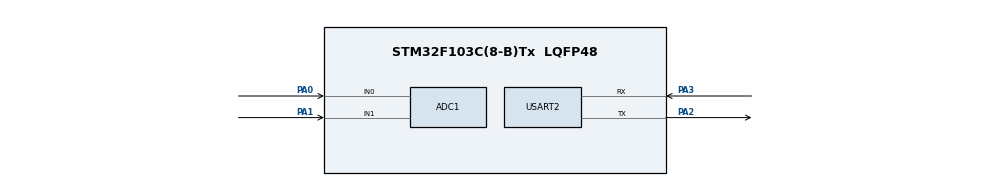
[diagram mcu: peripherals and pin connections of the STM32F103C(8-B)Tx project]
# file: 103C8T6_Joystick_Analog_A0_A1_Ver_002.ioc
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ADC1.Channel-0\#ChannelRegularConversion=ADC_CHANNEL_0
ADC1.NbrOfConversionFlag=1
ADC1.Rank-0\#ChannelRegularConversion=1
ADC1.SamplingTime-0\#ChannelRegularConversion=ADC_SAMPLETIME_55CYCLES_5
ADC1.master=1
Mcu.Family=STM32F1
Mcu.Name=STM32F103C(8-B)Tx
Mcu.Package=LQFP48
NVIC.PriorityGroup=NVIC_PRIORITYGROUP_4
PA0-WKUP.Signal=ADCx_IN0
PA1.Signal=ADCx_IN1
PA13.Mode=Serial_Wire
PA13.Signal=SYS_JTMS-SWDIO
PA14.Mode=Serial_Wire
PA14.Signal=SYS_JTCK-SWCLK
PA2.Mode=Asynchronous
PA2.Signal=USART2_TX
PA3.Mode=Asynchronous
PA3.Signal=USART2_RX
PC14-OSC32_IN.Mode=LSE-External-Oscillator
PC14-OSC32_IN.Signal=RCC_OSC32_IN
PC15-OSC32_OUT.Mode=LSE-External-Oscillator
PC15-OSC32_OUT.Signal=RCC_OSC32_OUT
PD0-OSC_IN.Mode=HSE-External-Oscillator
PD0-OSC_IN.Signal=RCC_OSC_IN
PD1-OSC_OUT.Mode=HSE-External-Oscillator
PD1-OSC_OUT.Signal=RCC_OSC_OUT
ProjectManager.HeapSize=0x200
ProjectManager.StackSize=0x400
ProjectManager.TargetToolchain=STM32CubeIDE
RCC.APB1Freq_Value=8000000
RCC.APB2Freq_Value=8000000
SH.ADCx_IN0.0=ADC1_IN0,IN0
SH.ADCx_IN1.0=ADC1_IN1,IN1
USART2.VirtualMode=VM_ASYNC
board=custom

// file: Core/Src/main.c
/* USER CODE BEGIN Header */
/**
 ******************************************************************************
 * @file           : main.c
 * @brief          : Main program body
 ******************************************************************************
 * @attention
 *
 * Copyright (c) 2025 STMicroelectronics.
 * All rights reserved.
 *
 * This software is licensed under terms that can be found in the LICENSE file
 * in the root directory of this software component.
 * If no LICENSE file comes with this software, it is provided AS-IS.
 *
 ******************************************************************************
 */
/* USER CODE END Header */
#include "main.h"

/* USER CODE BEGIN Includes */
#include <stdio.h>
#include <string.h>
#include <stdlib.h>
/* USER CODE END Includes */

ADC_HandleTypeDef hadc1;

UART_HandleTypeDef huart2;

/* USER CODE BEGIN PV */
char buffer[50];

uint16_t centerY = 2700;
uint16_t centerX = 3150;

uint16_t joyY, joyX;
int16_t dy, dx;
/* USER CODE END PV */

void SystemClock_Config(void);
static void MX_GPIO_Init(void);
static void MX_ADC1_Init(void);
static void MX_USART2_UART_Init(void);

/* USER CODE BEGIN 0 */
uint16_t ReadADC(uint32_t channel) {
	ADC_ChannelConfTypeDef sConfig = { 0 };

	sConfig.Channel = channel;
	sConfig.Rank = ADC_REGULAR_RANK_1;
	sConfig.SamplingTime = ADC_SAMPLETIME_55CYCLES_5;
	HAL_ADC_ConfigChannel(&hadc1, &sConfig);

	HAL_ADC_Start(&hadc1);
	HAL_ADC_PollForConversion(&hadc1, HAL_MAX_DELAY);
	uint16_t value = HAL_ADC_GetValue(&hadc1);
	HAL_ADC_Stop(&hadc1);

	return value;
}
/* USER CODE END 0 */

int main(void) {

	/* MCU Configuration--------------------------------------------------------*/

	/* Reset of all peripherals, Initializes the Flash interface and the Systick. */
	HAL_Init();

	/* Configure the system clock */
	SystemClock_Config();

	/* Initialize all configured peripherals */
	MX_GPIO_Init();
	MX_ADC1_Init();
	MX_USART2_UART_Init();

	/* Infinite loop */
	while (1) {

		/* USER CODE BEGIN 3 */

		joyY = ReadADC(ADC_CHANNEL_0);   // PA0 vertical
		joyX = ReadADC(ADC_CHANNEL_1);   // PA1 horizontal

		dy = joyY - centerY;
		dx = joyX - centerX;

		// Dead-zone
		// Dead-zone (strict)
		if (abs(dy) < 400)
			dy = 0;
		if (abs(dx) < 400)
			dx = 0;

		// ---- STRICT DIRECTION DETECTION ----
		if (dy < -600)   // UP
				{
			sprintf(buffer, "UP     Value: 0\r\n");
		} else if (dy > 600)  // DOWN
				{
			sprintf(buffer, "DOWN   Value: 4095\r\n");
		} else if (dx < -600)  // LEFT
				{
			sprintf(buffer, "LEFT   Value: 0\r\n");
		} else if (dx > 600)   // RIGHT
				{
			sprintf(buffer, "RIGHT  Value: 4095\r\n");
		} else {
			sprintf(buffer, "CENTER Value: Y=%u  X=%u\r\n", joyY, joyX);
		}

		HAL_UART_Transmit(&huart2, (uint8_t*) buffer, strlen(buffer), 100);
		HAL_Delay(150);

	}
	/* USER CODE END 3 */
}

void SystemClock_Config(void) {
	RCC_OscInitTypeDef RCC_OscInitStruct = { 0 };
	RCC_ClkInitTypeDef RCC_ClkInitStruct = { 0 };
	RCC_PeriphCLKInitTypeDef PeriphClkInit = { 0 };

	/** Initializes the RCC Oscillators according to the specified parameters
	 * in the RCC_OscInitTypeDef structure.
	 */
	RCC_OscInitStruct.OscillatorType = RCC_OSCILLATORTYPE_HSI;
	RCC_OscInitStruct.HSIState = RCC_HSI_ON;
	RCC_OscInitStruct.HSICalibrationValue = RCC_HSICALIBRATION_DEFAULT;
	RCC_OscInitStruct.PLL.PLLState = RCC_PLL_NONE;
	if (HAL_RCC_OscConfig(&RCC_OscInitStruct) != HAL_OK) {
		Error_Handler();
	}

	/** Initializes the CPU, AHB and APB buses clocks
	 */
	RCC_ClkInitStruct.ClockType = RCC_CLOCKTYPE_HCLK | RCC_CLOCKTYPE_SYSCLK
			| RCC_CLOCKTYPE_PCLK1 | RCC_CLOCKTYPE_PCLK2;
	RCC_ClkInitStruct.SYSCLKSource = RCC_SYSCLKSOURCE_HSI;
	RCC_ClkInitStruct.AHBCLKDivider = RCC_SYSCLK_DIV1;
	RCC_ClkInitStruct.APB1CLKDivider = RCC_HCLK_DIV1;
	RCC_ClkInitStruct.APB2CLKDivider = RCC_HCLK_DIV1;

	if (HAL_RCC_ClockConfig(&RCC_ClkInitStruct, FLASH_LATENCY_0) != HAL_OK) {
		Error_Handler();
	}
	PeriphClkInit.PeriphClockSelection = RCC_PERIPHCLK_ADC;
	PeriphClkInit.AdcClockSelection = RCC_ADCPCLK2_DIV2;
	if (HAL_RCCEx_PeriphCLKConfig(&PeriphClkInit) != HAL_OK) {
		Error_Handler();
	}
}

static void MX_ADC1_Init(void) {

	ADC_ChannelConfTypeDef sConfig = { 0 };

	/** Common config
	 */
	hadc1.Instance = ADC1;
	hadc1.Init.ScanConvMode = ADC_SCAN_DISABLE;
	hadc1.Init.ContinuousConvMode = DISABLE;
	hadc1.Init.DiscontinuousConvMode = DISABLE;
	hadc1.Init.ExternalTrigConv = ADC_SOFTWARE_START;
	hadc1.Init.DataAlign = ADC_DATAALIGN_RIGHT;
	hadc1.Init.NbrOfConversion = 1;
	if (HAL_ADC_Init(&hadc1) != HAL_OK) {
		Error_Handler();
	}

	/** Configure Regular Channel
	 */
	sConfig.Channel = ADC_CHANNEL_0;
	sConfig.Rank = ADC_REGULAR_RANK_1;
	sConfig.SamplingTime = ADC_SAMPLETIME_55CYCLES_5;
	if (HAL_ADC_ConfigChannel(&hadc1, &sConfig) != HAL_OK) {
		Error_Handler();
	}

}

static void MX_USART2_UART_Init(void) {

	huart2.Instance = USART2;
	huart2.Init.BaudRate = 115200;
	huart2.Init.WordLength = UART_WORDLENGTH_8B;
	huart2.Init.StopBits = UART_STOPBITS_1;
	huart2.Init.Parity = UART_PARITY_NONE;
	huart2.Init.Mode = UART_MODE_TX_RX;
	huart2.Init.HwFlowCtl = UART_HWCONTROL_NONE;
	huart2.Init.OverSampling = UART_OVERSAMPLING_16;
	if (HAL_UART_Init(&huart2) != HAL_OK) {
		Error_Handler();
	}

}

static void MX_GPIO_Init(void) {

	/* GPIO Ports Clock Enable */
	__HAL_RCC_GPIOC_CLK_ENABLE();
	__HAL_RCC_GPIOD_CLK_ENABLE();
	__HAL_RCC_GPIOA_CLK_ENABLE();

}

void Error_Handler(void) {
	__disable_irq();
	while (1) {
	}
}
